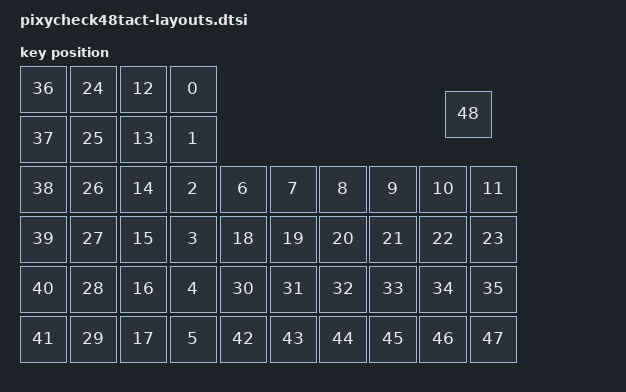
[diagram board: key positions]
#include <physical_layouts.dtsi>

/ {
    physical_layout_pixycheck48tact: physical_layout_pixycheck48tact {
        compatible = "zmk,physical-layout";
        display-name = "pixycheck48tact";
        keys  //                     w   h    x    y     rot    rx    ry
            = <&key_physical_attrs 100 100  600    0    9000   600     0>
            , <&key_physical_attrs 100 100  600  100    9000   600   100>
            , <&key_physical_attrs 100 100  600  200    9000   600   200>
            , <&key_physical_attrs 100 100  600  300    9000   600   300>
            , <&key_physical_attrs 100 100  600  400    9000   600   400>
            , <&key_physical_attrs 100 100  600  500    9000   600   500>
            , <&key_physical_attrs 100 100  600  200       0   600   200>
            , <&key_physical_attrs 100 100  700  200       0   700   200>
            , <&key_physical_attrs 100 100  800  200       0   800   200>
            , <&key_physical_attrs 100 100  900  200       0   900   200>
            , <&key_physical_attrs 100 100 1000  200       0  1000   200>
            , <&key_physical_attrs 100 100 1100  200       0  1100   200>
            , <&key_physical_attrs 100 100  500    0    9000   500     0>
            , <&key_physical_attrs 100 100  500  100    9000   500   100>
            , <&key_physical_attrs 100 100  500  200    9000   500   200>
            , <&key_physical_attrs 100 100  500  300    9000   500   300>
            , <&key_physical_attrs 100 100  500  400    9000   500   400>
            , <&key_physical_attrs 100 100  500  500    9000   500   500>
            , <&key_physical_attrs 100 100  600  300       0   600   300>
            , <&key_physical_attrs 100 100  700  300       0   700   300>
            , <&key_physical_attrs 100 100  800  300       0   800   300>
            , <&key_physical_attrs 100 100  900  300       0   900   300>
            , <&key_physical_attrs 100 100 1000  300       0  1000   300>
            , <&key_physical_attrs 100 100 1100  300       0  1100   300>
            , <&key_physical_attrs 100 100  400    0    9000   400     0>
            , <&key_physical_attrs 100 100  400  100    9000   400   100>
            , <&key_physical_attrs 100 100  400  200    9000   400   200>
            , <&key_physical_attrs 100 100  400  300    9000   400   300>
            , <&key_physical_attrs 100 100  400  400    9000   400   400>
            , <&key_physical_attrs 100 100  400  500    9000   400   500>
            , <&key_physical_attrs 100 100  600  400       0   600   400>
            , <&key_physical_attrs 100 100  700  400       0   700   400>
            , <&key_physical_attrs 100 100  800  400       0   800   400>
            , <&key_physical_attrs 100 100  900  400       0   900   400>
            , <&key_physical_attrs 100 100 1000  400       0  1000   400>
            , <&key_physical_attrs 100 100 1100  400       0  1100   400>
            , <&key_physical_attrs 100 100  300    0    9000   300     0>
            , <&key_physical_attrs 100 100  300  100    9000   300   100>
            , <&key_physical_attrs 100 100  300  200    9000   300   200>
            , <&key_physical_attrs 100 100  300  300    9000   300   300>
            , <&key_physical_attrs 100 100  300  400    9000   300   400>
            , <&key_physical_attrs 100 100  300  500    9000   300   500>
            , <&key_physical_attrs 100 100  600  500       0   600   500>
            , <&key_physical_attrs 100 100  700  500       0   700   500>
            , <&key_physical_attrs 100 100  800  500       0   800   500>
            , <&key_physical_attrs 100 100  900  500       0   900   500>
            , <&key_physical_attrs 100 100 1000  500       0  1000   500>
            , <&key_physical_attrs 100 100 1100  500       0  1100   500>
            , <&key_physical_attrs 100 100 1050   50       0  1050    50>
            ;
    };
};
